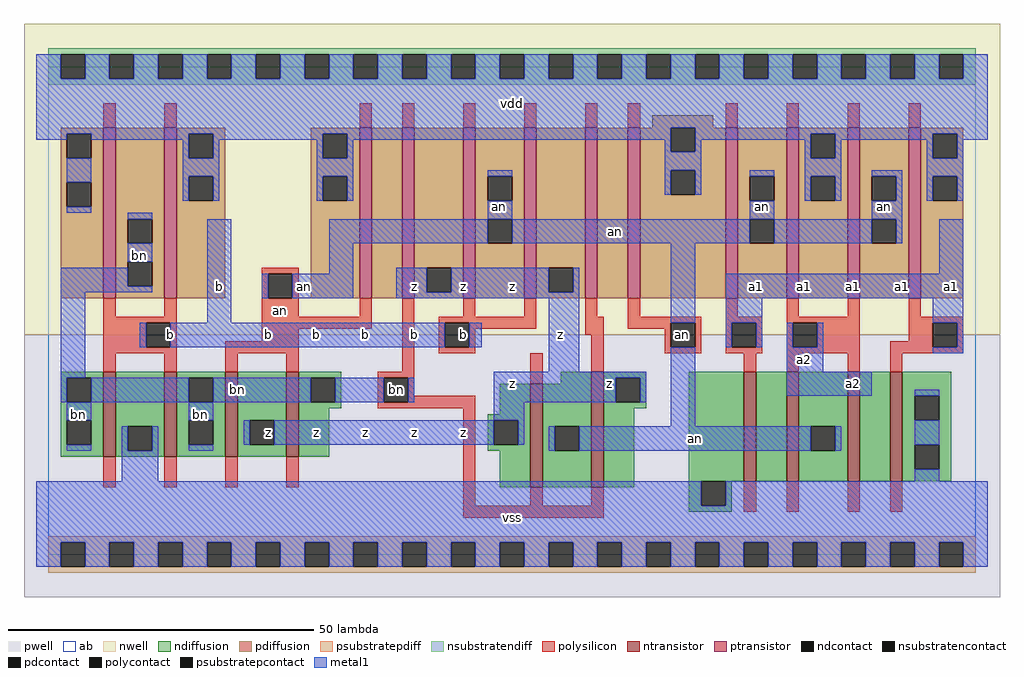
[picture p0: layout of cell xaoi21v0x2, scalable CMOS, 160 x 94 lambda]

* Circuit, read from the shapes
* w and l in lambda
.subckt xaoi21v0x2 a1 a2 an b bn vdd vss z
M1 vss b bn vss nfet w=14 l=2 m=2
M2 z an bn vss nfet w=14 l=2 m=2
M3 an bn z vss nfet w=17 l=2
M4 z bn an vss nfet w=19 l=2
M5 n1 a1 vss vss nfet w=18 l=2
M6 an a2 n1 vss nfet w=18 l=2
M7 n2 a2 an vss nfet w=18 l=2
M8 vss a1 n2 vss nfet w=18 l=2
M9 bn b vdd vdd pfet w=28 l=2 m=2
M10 n3 an vdd vdd pfet w=28 l=2
M11 z bn n3 vdd pfet w=28 l=2
M12 an b z vdd pfet w=28 l=2 m=2
M13 n4 bn z vdd pfet w=28 l=2
M14 vdd an n4 vdd pfet w=28 l=2
M15 an a1 vdd vdd pfet w=28 l=2 m=2
M16 vdd a2 an vdd pfet w=28 l=2 m=2
.ends

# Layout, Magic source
magic
tech scmos
<< ab >>
rect 0 0 152 80
<< pwell >>
rect -4 -7 156 36
<< nwell >>
rect -4 36 156 87
<< polysilicon >>
rect 9 70 11 74
rect 19 70 21 74
rect 51 70 53 74
rect 58 70 60 74
rect 68 70 70 74
rect 78 70 80 74
rect 88 70 90 74
rect 95 70 97 74
rect 111 70 113 74
rect 121 70 123 74
rect 131 70 133 74
rect 141 70 143 74
rect 35 46 41 47
rect 35 42 36 46
rect 40 42 41 46
rect 9 39 11 42
rect 19 39 21 42
rect 9 38 21 39
rect 9 34 16 38
rect 20 34 21 38
rect 35 39 41 42
rect 51 39 53 42
rect 35 37 53 39
rect 35 35 41 37
rect 9 33 21 34
rect 9 30 11 33
rect 19 30 21 33
rect 29 33 41 35
rect 29 30 31 33
rect 39 30 41 33
rect 58 30 60 42
rect 68 39 70 42
rect 78 39 80 42
rect 64 38 80 39
rect 64 34 65 38
rect 69 37 80 38
rect 88 39 90 42
rect 95 39 97 42
rect 111 39 113 42
rect 121 39 123 42
rect 131 39 133 42
rect 69 34 70 37
rect 88 36 91 39
rect 95 38 107 39
rect 95 37 102 38
rect 64 33 70 34
rect 54 29 60 30
rect 54 25 55 29
rect 59 26 60 29
rect 79 28 81 33
rect 89 30 91 36
rect 101 34 102 37
rect 106 34 107 38
rect 101 33 107 34
rect 111 38 117 39
rect 111 34 112 38
rect 116 34 117 38
rect 111 33 117 34
rect 121 38 133 39
rect 121 34 122 38
rect 126 34 133 38
rect 141 39 143 42
rect 141 38 150 39
rect 141 35 145 38
rect 121 33 133 34
rect 114 30 116 33
rect 121 30 123 33
rect 131 30 133 33
rect 138 34 145 35
rect 149 34 150 38
rect 138 33 150 34
rect 138 30 140 33
rect 59 25 70 26
rect 54 24 70 25
rect 9 11 11 16
rect 19 11 21 16
rect 29 11 31 16
rect 39 11 41 16
rect 68 8 70 24
rect 79 8 81 11
rect 89 8 91 11
rect 68 6 91 8
rect 114 7 116 12
rect 121 7 123 12
rect 131 7 133 12
rect 138 7 140 12
<< ndiffusion >>
rect 2 29 9 30
rect 2 25 3 29
rect 7 25 9 29
rect 2 22 9 25
rect 2 18 3 22
rect 7 18 9 22
rect 2 16 9 18
rect 11 21 19 30
rect 11 17 13 21
rect 17 17 19 21
rect 11 16 19 17
rect 21 29 29 30
rect 21 25 23 29
rect 27 25 29 29
rect 21 22 29 25
rect 21 18 23 22
rect 27 18 29 22
rect 21 16 29 18
rect 31 22 39 30
rect 31 18 33 22
rect 37 18 39 22
rect 31 16 39 18
rect 41 29 48 30
rect 41 25 43 29
rect 47 25 48 29
rect 41 24 48 25
rect 84 28 89 30
rect 41 16 46 24
rect 74 23 79 28
rect 72 22 79 23
rect 72 18 73 22
rect 77 18 79 22
rect 72 17 79 18
rect 74 11 79 17
rect 81 21 89 28
rect 81 17 83 21
rect 87 17 89 21
rect 81 11 89 17
rect 91 29 98 30
rect 91 25 93 29
rect 97 25 98 29
rect 91 24 98 25
rect 91 11 96 24
rect 105 12 114 30
rect 116 12 121 30
rect 123 21 131 30
rect 123 17 125 21
rect 129 17 131 21
rect 123 12 131 17
rect 133 12 138 30
rect 140 26 148 30
rect 140 22 142 26
rect 146 22 148 26
rect 140 18 148 22
rect 140 14 142 18
rect 146 14 148 18
rect 140 12 148 14
rect 105 8 107 12
rect 111 8 112 12
rect 105 7 112 8
<< pdiffusion >>
rect 99 70 109 72
rect 2 69 9 70
rect 2 65 3 69
rect 7 65 9 69
rect 2 61 9 65
rect 2 57 3 61
rect 7 57 9 61
rect 2 42 9 57
rect 11 55 19 70
rect 11 51 13 55
rect 17 51 19 55
rect 11 48 19 51
rect 11 44 13 48
rect 17 44 19 48
rect 11 42 19 44
rect 21 69 29 70
rect 21 65 23 69
rect 27 65 29 69
rect 21 62 29 65
rect 21 58 23 62
rect 27 58 29 62
rect 21 42 29 58
rect 43 69 51 70
rect 43 65 45 69
rect 49 65 51 69
rect 43 62 51 65
rect 43 58 45 62
rect 49 58 51 62
rect 43 42 51 58
rect 53 42 58 70
rect 60 47 68 70
rect 60 43 62 47
rect 66 43 68 47
rect 60 42 68 43
rect 70 62 78 70
rect 70 58 72 62
rect 76 58 78 62
rect 70 55 78 58
rect 70 51 72 55
rect 76 51 78 55
rect 70 42 78 51
rect 80 47 88 70
rect 80 43 82 47
rect 86 43 88 47
rect 80 42 88 43
rect 90 42 95 70
rect 97 66 102 70
rect 106 66 111 70
rect 97 63 111 66
rect 97 59 102 63
rect 106 59 111 63
rect 97 42 111 59
rect 113 62 121 70
rect 113 58 115 62
rect 119 58 121 62
rect 113 55 121 58
rect 113 51 115 55
rect 119 51 121 55
rect 113 42 121 51
rect 123 69 131 70
rect 123 65 125 69
rect 129 65 131 69
rect 123 62 131 65
rect 123 58 125 62
rect 129 58 131 62
rect 123 42 131 58
rect 133 62 141 70
rect 133 58 135 62
rect 139 58 141 62
rect 133 55 141 58
rect 133 51 135 55
rect 139 51 141 55
rect 133 42 141 51
rect 143 69 150 70
rect 143 65 145 69
rect 149 65 150 69
rect 143 62 150 65
rect 143 58 145 62
rect 149 58 150 62
rect 143 42 150 58
<< metal1 >>
rect -2 78 2 82
rect 6 78 10 82
rect 14 78 18 82
rect 22 78 26 82
rect 30 78 34 82
rect 38 78 42 82
rect 46 78 50 82
rect 54 78 58 82
rect 62 78 66 82
rect 70 78 74 82
rect 78 78 82 82
rect 86 78 90 82
rect 94 78 98 82
rect 102 78 106 82
rect 110 78 114 82
rect 118 78 122 82
rect 126 78 130 82
rect 134 78 138 82
rect 142 78 146 82
rect 150 78 154 82
rect -2 70 154 78
rect -2 69 102 70
rect -2 68 3 69
rect 7 68 23 69
rect 3 61 7 65
rect 22 65 23 68
rect 27 68 45 69
rect 27 65 28 68
rect 22 62 28 65
rect 22 58 23 62
rect 27 58 28 62
rect 44 65 45 68
rect 49 68 102 69
rect 49 65 50 68
rect 44 62 50 65
rect 101 66 102 68
rect 106 69 154 70
rect 106 68 125 69
rect 106 66 107 68
rect 101 63 107 66
rect 124 65 125 68
rect 129 68 145 69
rect 129 65 130 68
rect 44 58 45 62
rect 49 58 50 62
rect 72 62 76 63
rect 101 59 102 63
rect 106 59 107 63
rect 115 62 119 63
rect 3 56 7 57
rect 13 55 17 56
rect 72 55 76 58
rect 124 62 130 65
rect 144 65 145 68
rect 149 68 154 69
rect 149 65 150 68
rect 124 58 125 62
rect 129 58 130 62
rect 135 62 140 63
rect 139 58 140 62
rect 144 62 150 65
rect 144 58 145 62
rect 149 58 150 62
rect 115 55 119 58
rect 135 55 140 58
rect 13 48 17 51
rect 2 44 13 47
rect 2 43 17 44
rect 2 29 6 43
rect 26 38 30 55
rect 46 51 72 55
rect 76 51 115 55
rect 119 51 135 55
rect 139 51 140 55
rect 46 46 50 51
rect 35 42 36 46
rect 40 42 50 46
rect 57 43 62 47
rect 66 43 82 47
rect 86 43 87 47
rect 57 42 87 43
rect 15 34 16 38
rect 20 34 65 38
rect 69 34 71 38
rect 82 30 87 42
rect 102 38 106 51
rect 146 46 150 55
rect 111 42 150 46
rect 111 38 117 42
rect 145 38 150 42
rect 111 34 112 38
rect 116 34 117 38
rect 121 34 122 38
rect 126 34 127 38
rect 73 29 98 30
rect 2 25 3 29
rect 7 25 23 29
rect 27 25 43 29
rect 47 25 55 29
rect 59 25 60 29
rect 73 25 93 29
rect 97 25 98 29
rect 3 22 7 25
rect 23 22 27 25
rect 73 22 78 25
rect 3 17 7 18
rect 12 17 13 21
rect 17 17 18 21
rect 32 18 33 22
rect 37 18 73 22
rect 77 18 78 22
rect 102 21 106 34
rect 121 30 127 34
rect 149 34 150 38
rect 145 33 150 34
rect 121 26 135 30
rect 142 26 146 27
rect 23 17 27 18
rect 82 17 83 21
rect 87 17 125 21
rect 129 17 130 21
rect 142 18 146 22
rect 12 12 18 17
rect 142 12 146 14
rect -2 8 107 12
rect 111 8 154 12
rect -2 2 154 8
rect -2 -2 2 2
rect 6 -2 10 2
rect 14 -2 18 2
rect 22 -2 26 2
rect 30 -2 34 2
rect 38 -2 42 2
rect 46 -2 50 2
rect 54 -2 58 2
rect 62 -2 66 2
rect 70 -2 74 2
rect 78 -2 82 2
rect 86 -2 90 2
rect 94 -2 98 2
rect 102 -2 106 2
rect 110 -2 114 2
rect 118 -2 122 2
rect 126 -2 130 2
rect 134 -2 138 2
rect 142 -2 146 2
rect 150 -2 154 2
<< ntransistor >>
rect 9 16 11 30
rect 19 16 21 30
rect 29 16 31 30
rect 39 16 41 30
rect 79 11 81 28
rect 89 11 91 30
rect 114 12 116 30
rect 121 12 123 30
rect 131 12 133 30
rect 138 12 140 30
<< ptransistor >>
rect 9 42 11 70
rect 19 42 21 70
rect 51 42 53 70
rect 58 42 60 70
rect 68 42 70 70
rect 78 42 80 70
rect 88 42 90 70
rect 95 42 97 70
rect 111 42 113 70
rect 121 42 123 70
rect 131 42 133 70
rect 141 42 143 70
<< polycontact >>
rect 36 42 40 46
rect 16 34 20 38
rect 65 34 69 38
rect 55 25 59 29
rect 102 34 106 38
rect 112 34 116 38
rect 122 34 126 38
rect 145 34 149 38
<< ndcontact >>
rect 3 25 7 29
rect 3 18 7 22
rect 13 17 17 21
rect 23 25 27 29
rect 23 18 27 22
rect 33 18 37 22
rect 43 25 47 29
rect 73 18 77 22
rect 83 17 87 21
rect 93 25 97 29
rect 125 17 129 21
rect 142 22 146 26
rect 142 14 146 18
rect 107 8 111 12
<< pdcontact >>
rect 3 65 7 69
rect 3 57 7 61
rect 13 51 17 55
rect 13 44 17 48
rect 23 65 27 69
rect 23 58 27 62
rect 45 65 49 69
rect 45 58 49 62
rect 62 43 66 47
rect 72 58 76 62
rect 72 51 76 55
rect 82 43 86 47
rect 102 66 106 70
rect 102 59 106 63
rect 115 58 119 62
rect 115 51 119 55
rect 125 65 129 69
rect 125 58 129 62
rect 135 58 139 62
rect 135 51 139 55
rect 145 65 149 69
rect 145 58 149 62
<< psubstratepcontact >>
rect 2 -2 6 2
rect 10 -2 14 2
rect 18 -2 22 2
rect 26 -2 30 2
rect 34 -2 38 2
rect 42 -2 46 2
rect 50 -2 54 2
rect 58 -2 62 2
rect 66 -2 70 2
rect 74 -2 78 2
rect 82 -2 86 2
rect 90 -2 94 2
rect 98 -2 102 2
rect 106 -2 110 2
rect 114 -2 118 2
rect 122 -2 126 2
rect 130 -2 134 2
rect 138 -2 142 2
rect 146 -2 150 2
<< nsubstratencontact >>
rect 2 78 6 82
rect 10 78 14 82
rect 18 78 22 82
rect 26 78 30 82
rect 34 78 38 82
rect 42 78 46 82
rect 50 78 54 82
rect 58 78 62 82
rect 66 78 70 82
rect 74 78 78 82
rect 82 78 86 82
rect 90 78 94 82
rect 98 78 102 82
rect 106 78 110 82
rect 114 78 118 82
rect 122 78 126 82
rect 130 78 134 82
rect 138 78 142 82
rect 146 78 150 82
<< psubstratepdiff >>
rect 0 2 152 3
rect 0 -2 2 2
rect 6 -2 10 2
rect 14 -2 18 2
rect 22 -2 26 2
rect 30 -2 34 2
rect 38 -2 42 2
rect 46 -2 50 2
rect 54 -2 58 2
rect 62 -2 66 2
rect 70 -2 74 2
rect 78 -2 82 2
rect 86 -2 90 2
rect 94 -2 98 2
rect 102 -2 106 2
rect 110 -2 114 2
rect 118 -2 122 2
rect 126 -2 130 2
rect 134 -2 138 2
rect 142 -2 146 2
rect 150 -2 152 2
rect 0 -3 152 -2
<< nsubstratendiff >>
rect 0 82 152 83
rect 0 78 2 82
rect 6 78 10 82
rect 14 78 18 82
rect 22 78 26 82
rect 30 78 34 82
rect 38 78 42 82
rect 46 78 50 82
rect 54 78 58 82
rect 62 78 66 82
rect 70 78 74 82
rect 78 78 82 82
rect 86 78 90 82
rect 94 78 98 82
rect 102 78 106 82
rect 110 78 114 82
rect 118 78 122 82
rect 126 78 130 82
rect 134 78 138 82
rect 142 78 146 82
rect 150 78 152 82
rect 0 77 152 78
<< labels >>
rlabel polysilicon 38 40 38 40 6 an
rlabel polycontact 57 27 57 27 6 bn
rlabel polycontact 104 36 104 36 6 an
rlabel metal1 25 23 25 23 6 bn
rlabel metal1 5 23 5 23 6 bn
rlabel metal1 20 36 20 36 6 b
rlabel metal1 15 49 15 49 6 bn
rlabel ndcontact 36 20 36 20 6 z
rlabel metal1 44 20 44 20 6 z
rlabel metal1 52 20 52 20 6 z
rlabel metal1 28 44 28 44 6 b
rlabel metal1 42 44 42 44 6 an
rlabel metal1 36 36 36 36 6 b
rlabel metal1 44 36 44 36 6 b
rlabel metal1 52 36 52 36 6 b
rlabel metal1 76 6 76 6 6 vss
rlabel metal1 60 20 60 20 6 z
rlabel metal1 31 27 31 27 6 bn
rlabel metal1 68 20 68 20 6 z
rlabel metal1 76 28 76 28 6 z
rlabel metal1 60 36 60 36 6 b
rlabel metal1 60 44 60 44 6 z
rlabel polycontact 68 36 68 36 6 b
rlabel metal1 68 44 68 44 6 z
rlabel metal1 76 44 76 44 6 z
rlabel metal1 84 36 84 36 6 z
rlabel metal1 74 57 74 57 6 an
rlabel metal1 76 74 76 74 6 vdd
rlabel metal1 92 28 92 28 6 z
rlabel metal1 116 44 116 44 6 a1
rlabel polycontact 104 36 104 36 6 an
rlabel metal1 117 57 117 57 6 an
rlabel metal1 106 19 106 19 6 an
rlabel metal1 132 28 132 28 6 a2
rlabel metal1 124 32 124 32 6 a2
rlabel metal1 124 44 124 44 6 a1
rlabel metal1 148 44 148 44 6 a1
rlabel metal1 132 44 132 44 6 a1
rlabel metal1 140 44 140 44 6 a1
rlabel metal1 93 53 93 53 6 an
rlabel metal1 137 57 137 57 6 an
<< end >>
